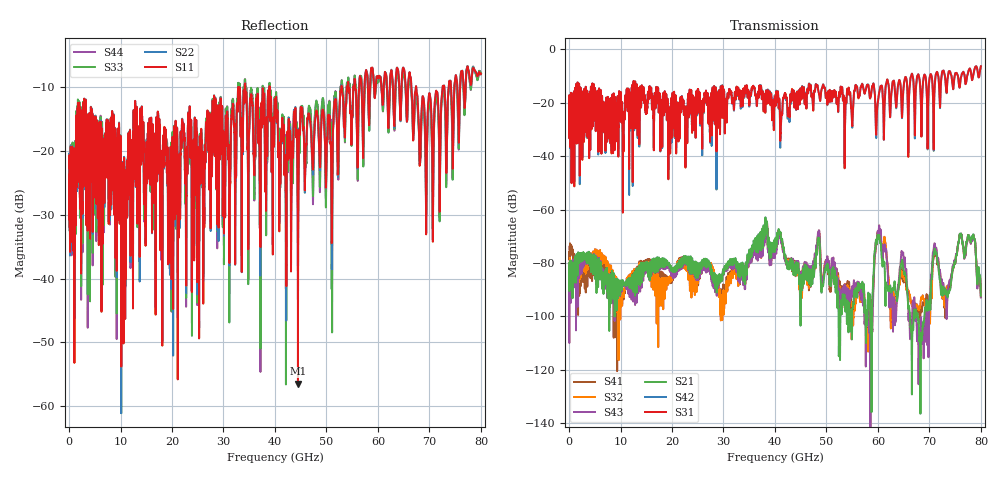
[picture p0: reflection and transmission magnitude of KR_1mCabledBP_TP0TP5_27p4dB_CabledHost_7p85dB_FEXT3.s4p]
!! Reference: shanbhag_3dj_02_2305.pdf
!! CHANNEL DESCRIPTION: TP0_TP5 KR Channel using 1meter Cabled BP, Cabled Host
!! CABLE DESCRIPTION: 1meter 26AWG Cable
!! MODEL STATUS: Developmental
!! PORT DEFINITIONS:
!! Port  1  ----->  Side A  Side B  <-----  Port  2
!! Port  3  ----->  Side A  Side B  <-----  Port  4
# HZ S MA R 50.000000
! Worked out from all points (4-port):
!   8000 points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, 10 MHz to 80 GHz, reference 50 ohm
!   strongest paths, dB at 10 MHz, 20.01 GHz, 40.01 GHz, 60.01 GHz, 80 GHz:
!     S31: -24.5, -21.4, -17.9, -19.5, -6.4
!     S42: -24.5, -20.9, -17.7, -19.4, -6.4
!     S21: -84.5, -82.1, -74.1, -70.6, -92.3
!     S43: -92.8, -83.9, -76.2, -68.9, -93.0
!     S32: -88.7, -84.8, -75.2, -69.1, -92.6
!     S41: -77.3, -85.4, -75.1, -69.4, -92.6
!   lowest |S11| = -56.5 dB at 44.46 GHz (marker M1), VSWR 1.00, Z = 50.1 - j0.0381 ohm
!   |S11| at or under -10 dB: start of sweep to 32.86 GHz; 38.96 GHz to 52.91 GHz (13.95 GHz wide, 30.4 % of centre); 67.45 GHz to 72.56 GHz (5.117 GHz wide, 7.31 % of centre) (the widest 3 of 24)
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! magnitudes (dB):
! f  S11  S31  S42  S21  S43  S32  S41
! 10 MHz  -22.7  -24.5  -24.5  -84.5  -92.8  -88.7  -77.3
! 34.18 GHz  -9.6  -14.2  -14.3  -85.7  -87.5  -85.3  -85.6
! 38.14 GHz  -17.2  -22.1  -20.9  -63.1  -64.4  -63.8  -63.7
! 44.46 GHz  -56.5  -22.4  -21.9  -80.2  -79.4  -80.2  -79.9
! 60.23 GHz  -8.2  -16.3  -16.2  -69.5  -66.0  -67.0  -67.1
! 69.36 GHz  -32.4  -12.2  -12.2  -96.4  -100.8  -98.3  -93.5
! 80 GHz  -7.9  -6.4  -6.4  -92.3  -93.0  -92.6  -92.6
